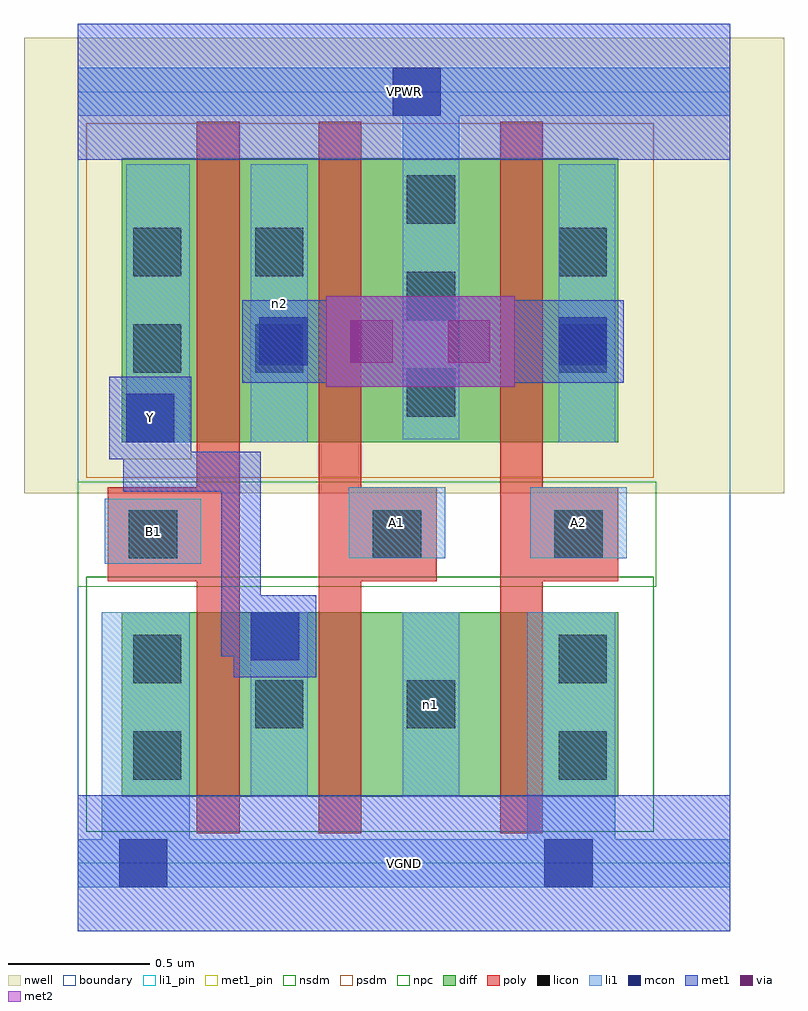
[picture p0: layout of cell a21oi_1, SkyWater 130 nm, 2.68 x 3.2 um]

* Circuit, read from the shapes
.subckt a21oi_1 A1 A2 B1 VGND VPWR Y n1 n2
XM1 Y B1 VGND VSUBS sky130_fd_pr__nfet_01v8 w=0.65 l=0.15
XM2 n1 A1 Y VSUBS sky130_fd_pr__nfet_01v8 w=0.65 l=0.15
XM3 VGND A2 n1 VSUBS sky130_fd_pr__nfet_01v8 w=0.65 l=0.15
XM4 n2 B1 Y n3 sky130_fd_pr__pfet_01v8 w=1 l=0.15
XM5 VPWR A1 n2 n3 sky130_fd_pr__pfet_01v8 w=1 l=0.15
XM6 n2 A2 VPWR n3 sky130_fd_pr__pfet_01v8 w=1 l=0.15
.ends

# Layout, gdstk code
import gdstk
lib = gdstk.Library(unit=1e-6, precision=1e-09)
def R(c, l, rs):  # rectangles x0, y0, x1, y1
    for r in rs: c.add(gdstk.rectangle(r[:2], r[2:], *l))
def A(c, l, x, y, w, h, nx, ny, dx, dy):  # array of equal rectangles
    R(c, l, [(x+i*dx, y+j*dy, x+i*dx+w, y+j*dy+h) for i in range(nx) for j in range(ny)])
nwell = (64, 20)
diff = (65, 20)
poly = (66, 20)
licon = (66, 44)
li1_pin = (67, 16)
li1 = (67, 20)
mcon = (67, 44)
met1_pin = (68, 16)
met1 = (68, 20)
via = (68, 44)
met2 = (69, 20)
nsdm = (93, 44)
psdm = (94, 20)
npc = (95, 20)
boundary = (235, 4)

a21oi_1 = lib.new_cell('a21oi_1')
R(a21oi_1, nwell, [(-0.19,1.305,2.49,2.91), (0,1.305,2.3,2.91)])
R(a21oi_1, diff, [(0.155,0.235,1.905,0.885), (0.155,1.485,1.905,2.485)])
R(a21oi_1, poly, [(0.42,0.105,0.57,2.615), (0.85,0.105,1,2.615), (1.49,0.105,1.64,2.615), (0.105,0.995,0.57,1.325), (0.85,0.995,1.265,1.325), (1.49,0.995,1.905,1.325)])
A(a21oi_1, licon, 1.16, 1.575, 0.17, 0.17, 1, 3, 0, 0.34)
R(a21oi_1, licon, [(0.195,0.295,0.365,0.465), (1.695,0.295,1.865,0.465), (0.625,0.475,0.795,0.645), (1.16,0.475,1.33,0.645), (0.195,0.635,0.365,0.805), (1.695,0.635,1.865,0.805), (0.18,1.075,0.35,1.245), (1.04,1.075,1.21,1.245), (1.68,1.075,1.85,1.245), (0.195,1.73,0.365,1.9), (0.625,1.73,0.795,1.9), (1.695,1.73,1.865,1.9), (0.195,2.07,0.365,2.24), (0.625,2.07,0.795,2.24), (1.695,2.07,1.865,2.24)])
R(a21oi_1, li1_pin, [(0.095,1.055,0.435,1.285), (0.955,1.075,1.295,1.325), (1.595,1.075,1.935,1.325)])
R(a21oi_1, li1, [(0,-0.085,2.3,0.085), (0.085,-0.085,0.395,0.885), (1.585,-0.085,1.895,0.885), (0.61,0.235,0.81,0.885), (1.145,0.235,1.345,0.885), (0.095,1.055,0.435,1.285), (0.955,1.075,1.295,1.325), (1.595,1.075,1.935,1.325), (0.17,1.485,0.395,2.465), (0.61,1.485,0.81,2.465), (1.695,1.485,1.895,2.465), (1.145,1.495,1.345,2.805), (0,2.635,2.3,2.805)])
R(a21oi_1, mcon, [(0.145,-0.085,0.315,0.085), (1.645,-0.085,1.815,0.085), (0.61,0.715,0.78,0.885), (0.17,1.485,0.34,1.655), (0.64,1.755,0.81,1.925), (1.695,1.755,1.865,1.925), (1.11,2.635,1.28,2.805)])
R(a21oi_1, met1_pin, [(0,-0.24,2.3,0.24), (0.11,1.425,0.4,1.715), (0,2.48,2.3,2.96)])
R(a21oi_1, met1, [(0,-0.24,2.3,0.24), (0.55,0.655,0.84,0.945), (0.505,0.73,0.765,0.87), (0.505,0.73,0.645,0.99), (0.505,0.85,0.645,1.45), (0.16,1.31,0.3,1.64), (0.16,1.31,0.645,1.45), (0.11,1.425,0.4,1.715), (0.16,1.5,0.325,1.64), (0.875,1.68,1.195,2), (1.195,1.68,1.22,2), (1.22,1.68,1.54,2), (0.58,1.695,0.87,1.985), (0.87,1.695,0.875,1.985), (1.54,1.695,1.635,1.985), (1.635,1.695,1.925,1.985), (0.655,1.77,0.99,1.91), (0.85,1.77,1.105,1.91), (1.105,1.77,1.22,1.91), (1.195,1.77,1.31,1.91), (1.31,1.77,1.68,1.91), (1.54,1.77,1.85,1.91), (0,2.48,2.3,2.96)])
R(a21oi_1, via, [(0.96,1.765,1.11,1.915), (1.305,1.765,1.455,1.915)])
R(a21oi_1, met2, [(0.875,1.68,1.195,2), (1.195,1.68,1.22,2), (1.22,1.68,1.54,2), (0.965,1.77,1.45,1.91)])
R(a21oi_1, nsdm, [(0.03,0.11,2.03,1.01)])
R(a21oi_1, psdm, [(0.03,1.36,2.03,2.61)])
R(a21oi_1, npc, [(0,0.975,2.04,1.345)])
R(a21oi_1, boundary, [(0,0,2.3,2.72)])
a21oi_1.add(gdstk.Label('A1', (1.125,1.2), layer=67, texttype=5))
a21oi_1.add(gdstk.Label('A2', (1.765,1.2), layer=67, texttype=5))
a21oi_1.add(gdstk.Label('B1', (0.265,1.17), layer=67, texttype=5))
a21oi_1.add(gdstk.Label('n2', (0.71,1.975), layer=67, texttype=5))
a21oi_1.add(gdstk.Label('n1', (1.245,0.56), layer=67, texttype=5))
a21oi_1.add(gdstk.Label('Y', (0.255,1.57), layer=68, texttype=5))
a21oi_1.add(gdstk.Label('VPWR', (1.15,2.72), layer=68, texttype=5))
a21oi_1.add(gdstk.Label('VGND', (1.15,0), layer=68, texttype=5))
a21oi_1.add(gdstk.Label('A1', (1.125,1.2), layer=67, texttype=16))
a21oi_1.add(gdstk.Label('A2', (1.765,1.2), layer=67, texttype=16))
a21oi_1.add(gdstk.Label('B1', (0.265,1.17), layer=67, texttype=16))
a21oi_1.add(gdstk.Label('Y', (0.255,1.57), layer=68, texttype=16))
a21oi_1.add(gdstk.Label('VPWR', (1.15,2.72), layer=68, texttype=16))
a21oi_1.add(gdstk.Label('VGND', (1.15,0), layer=68, texttype=16))

lib.write_gds('a21oi_1.gds')
